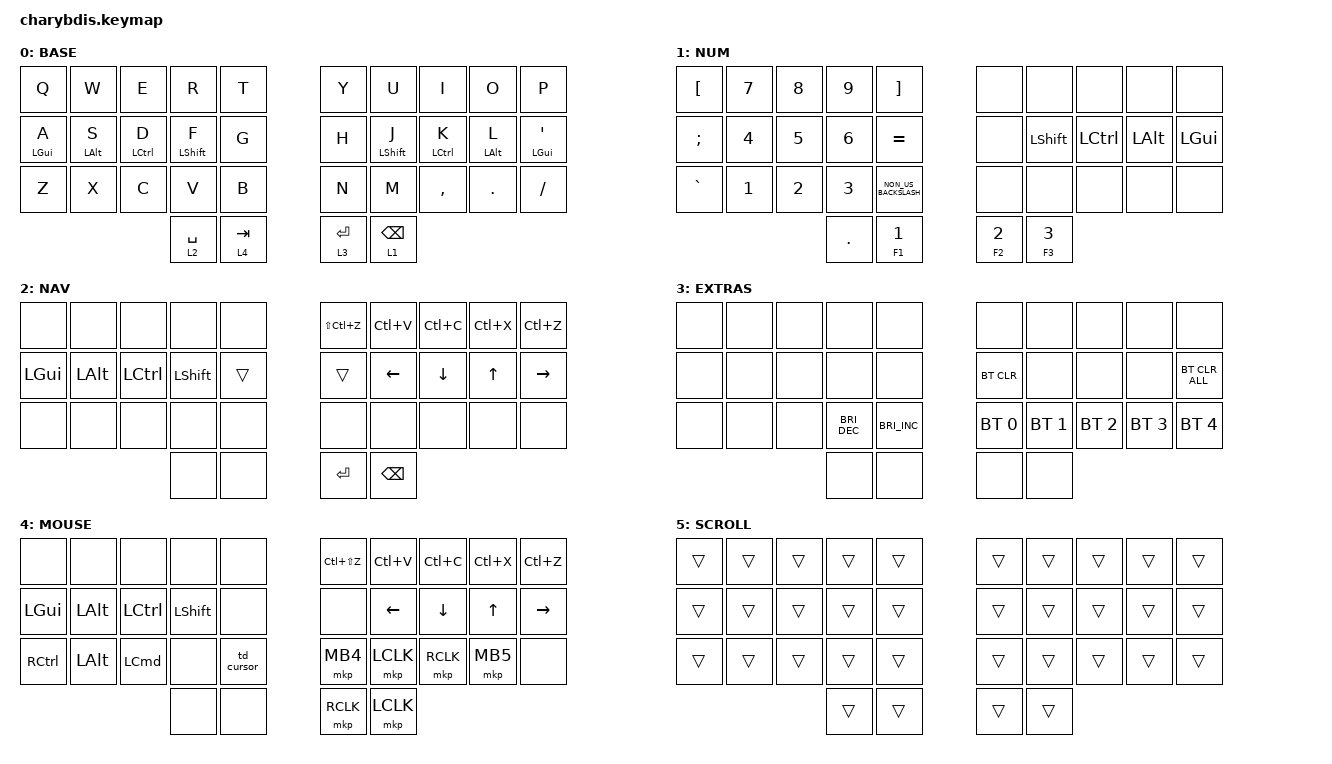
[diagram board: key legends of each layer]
#include <dt-bindings/zmk/mouse.h>
#include <behaviors/mouse_keys.dtsi>
#include "macros.dtsi"
#include <behaviors.dtsi>
#include <dt-bindings/zmk/bt.h>
#include <dt-bindings/zmk/keys.h>
#include <dt-bindings/zmk/pointing.h>

// / {
//     chosen { zmk,matrix_transform = &default_transform; };
// };

/ {
    /* input config for mouse move mode */

    trackball_listener {
        compatible = "zmk,input-behavior-listener";
        device = <&vtrackball>;
        layers = <5>;
        evt-type = <INPUT_EV_REL>;
        x-input-code = <INPUT_REL_X>;
        y-input-code = <INPUT_REL_Y>;
        scale-multiplier = <1>;
        scale-divisor = <2>;

        // bindings = <&ib_toggle_layer 7>;
    };

    /* input config for snipe mode */

    trackball_snipe_listener {
        compatible = "zmk,input-behavior-listener";
        device = <&vtrackball>;
        layers = <5>;
        evt-type = <INPUT_EV_REL>;
        x-input-code = <INPUT_REL_X>;
        y-input-code = <INPUT_REL_Y>;
        scale-multiplier = <1>;
        scale-divisor = <4>;
    };

    /* input config for mouse scroll mode */

    trackball_scroll_listener {
        compatible = "zmk,input-behavior-listener";
        device = <&vtrackball>;
        layers = <5>;
        evt-type = <INPUT_EV_REL>;
        x-input-code = <INPUT_REL_MISC>;
        y-input-code = <INPUT_REL_WHEEL>;
        y-invert;
        bindings = <&ib_wheel_scaler 1 14>;
    };

    /* define a resolution down scaler only for INPUT_REL_WHEEL */

    ib_wheel_scaler: ib_wheel_scaler {
        compatible = "zmk,input-behavior-scaler";
        #binding-cells = <2>;
        evt-type = <INPUT_EV_REL>;
        input-code = <INPUT_REL_WHEEL>;
    };

    /* adjust cooldown waiting period for mouse key layer after activated */

    ib_toggle_layer: ib_toggle_layer {
        compatible = "zmk,input-behavior-tog-layer";
        #binding-cells = <1>;
        time-to-live-ms = <750>;
    };

    behaviors {
        hm: homerow_mod {
            compatible = "zmk,behavior-hold-tap";
            #binding-cells = <2>;
            flavor = "tap-preferred";
            tapping-term-ms = <175>; // triggers the hold behavior when the tapping-term-ms has expired
            quick-tap-ms = <150>; // If you press a tapped hold-tap again within quick-tap-ms milliseconds of the first press, it will always trigger the tap behavior.
            require-prior-idle-ms = <185>; // like quick-tap-ms however it will apply for any non-modifier key pressed before it
            bindings = <&kp>, <&kp>;

            // hold, tap
        };

        td_cursor: td_scroll_or_cursor {
            compatible = "zmk,behavior-tap-dance";
            #binding-cells = <0>;
            bindings = <&lt 5 ESC>, <&to 0>;

            // hold, tap, double_tap
        };

        httl: ht_two_layers {
            compatible = "zmk,behavior-hold-tap";
            bindings = <&mo>, <&to>;

            #binding-cells = <2>;
            flavor = "balanced";
            tapping-term-ms = <125>;
        };

        td_layers: td_layer_swap {
            compatible = "zmk,behavior-tap-dance";
            #binding-cells = <0>;
            bindings = <&to 0>, <&to 0>, <&to 0>;

            // tap, double_tap, tripple_tap
        };

        td_clk_scrl: td_click_or_scroll {
            compatible = "zmk,behavior-tap-dance";
            #binding-cells = <0>;
            tapping-term-ms = <250>;
            bindings = <&mkp RCLK>, <&mo 5>;

            // tap/hold, double_tap
        };

        td_bore: BASE_or_EXTRA {
            compatible = "zmk,behavior-tap-dance";
            #binding-cells = <0>;
            bindings = <&mo 3>, <&to 0>;
        };
    };

    combos {
        compatible = "zmk,combos";

        CapsWord {
            bindings = <&caps_word>;
            key-positions = <15 14>;
            layers = <0>;
        };

        esc {
            bindings = <&kp ESCAPE>;
            key-positions = <31 30>;
        };

        esc1 {
            bindings = <&kp ESCAPE>;
            key-positions = <33 32>;
        };

        // GameLayer {
        //     bindings = <&tog 4>;
        //     key-positions = <8 9>;
        // };
        // PhotoLayer {
        //     bindings = <&tog 5>;
        //     key-positions = <2 3>;
        // };
    };

    // ╭──────┬──────┬──────┬──────┬──────┬──────╮  ╭──────┬──────┬──────┬──────┬──────┬──────╮
    //    00     01     02     03    04      05        06     07     08     09     10     11
    // ├──────┼──────┼──────┼──────┼──────┼──────┤  ├──────┼──────┼──────┼──────┼──────┼──────┤
    //    12     13     14     15    16      17        18     19     20     21     22     23
    // ├──────┼──────┼──────┼──────┼──────┼──────┤  ├──────┼──────┼──────┼──────┼──────┼──────┤
    //    24     25     26     27    28      29        30     31     32     33     34     35
    // ╰──────┴──────┴──────┼──────┼──────┼──────┤  ├──────┼──────┼──────┴──────┴──────┴──────╯
    //                         36     37     38        39     40
    //                      ╰──────┴──────┴──────╯  ╰──────┴──────╯
    // #define BASE    0
    // #define NUM     1
    // #define NAV     2
    // #define SYM     3
    // #define GAME    4
    // #define PHOTOS  5
    // #define EXTRAS  6
    // #define MOUSE   7
    // #define SLOW    8
    // #define SCROLL  9

    keymap {
        compatible = "zmk,keymap";

        BASE {
            bindings = <
  &kp Q           &kp W           &kp E               &kp R             &kp T        &kp Y        &kp U             &kp I               &kp O           &kp P
  &hm LEFT_GUI A  &hm LEFT_ALT S  &hm LEFT_CONTROL D  &hm LEFT_SHIFT F  &kp G        &kp H        &hm LEFT_SHIFT J  &hm LEFT_CONTROL K  &hm LEFT_ALT L  &hm LEFT_GUI SQT
  &kp Z           &kp X           &kp C               &kp V             &kp B        &kp N        &kp M             &kp COMMA           &kp PERIOD      &kp SLASH
                                                      &lt 2 SPACE       &lt 4 TAB    &lt 3 ENTER  &lt 1 BACKSPACE
            >;
        };

        NUM {
            bindings = <
  &kp LEFT_BRACKET  &kp N7        &kp N8        &kp N9        &kp RIGHT_BRACKET       &none      &none           &none             &none         &none
  &kp SEMICOLON     &kp NUMBER_4  &kp N5        &kp NUMBER_6  &kp EQUAL               &none      &kp LEFT_SHIFT  &kp LEFT_CONTROL  &kp LEFT_ALT  &kp LEFT_GUI
  &kp GRAVE         &kp NUMBER_1  &kp NUMBER_2  &kp NUMBER_3  &kp NON_US_BACKSLASH    &none      &none           &none             &none         &none
                                                &kp DOT       &hm F1 N1               &hm F2 N2  &hm F3 N3
            >;
        };

        NAV {
            bindings = <
  &none         &none         &none             &none           &none     &kp LS(LC(Z))  &kp LC(V)       &kp LC(C)       &kp LC(X)     &kp LC(Z)
  &kp LEFT_GUI  &kp LEFT_ALT  &kp LEFT_CONTROL  &kp LEFT_SHIFT  &trans    &trans         &kp LEFT_ARROW  &kp DOWN_ARROW  &kp UP_ARROW  &kp RIGHT_ARROW
  &none         &none         &none             &none           &none     &none          &none           &none           &none         &none
                                                &none           &none     &kp ENTER      &kp BACKSPACE
            >;
        };

        EXTRAS {
            bindings = <
  &none  &none  &none  &none                 &none                   &none         &none         &none         &none         &none
  &none  &none  &none  &none                 &none                   &bt BT_CLR    &none         &none         &none         &bt BT_CLR_ALL
  &none  &none  &none  &kp C_BRIGHTNESS_DEC  &kp C_BRIGHTNESS_INC    &bt BT_SEL 0  &bt BT_SEL 1  &bt BT_SEL 2  &bt BT_SEL 3  &bt BT_SEL 4
                       &none                 &none                   &none         &none
            >;
        };

        MOUSE {
            bindings = <
  &none         &none         &none             &none           &none         &kp LC(LS(Z))  &kp LC(V)  &kp LC(C)  &kp LC(X)     &kp LC(Z)
  &kp LEFT_GUI  &kp LEFT_ALT  &kp LEFT_CONTROL  &kp LEFT_SHIFT  &none         &none          &kp LEFT   &kp DOWN   &kp UP_ARROW  &kp RIGHT
  &kp RCTRL     &kp LEFT_ALT  &kp LCMD          &none           &td_cursor    &mkp MB4       &mkp LCLK  &mkp RCLK  &mkp MB5      &none
                                                &none           &none         &mkp RCLK      &mkp LCLK
            >;
        };

        SCROLL {
            bindings = <
  &trans  &trans  &trans  &trans  &trans    &trans  &trans  &trans  &trans  &trans
  &trans  &trans  &trans  &trans  &trans    &trans  &trans  &trans  &trans  &trans
  &trans  &trans  &trans  &trans  &trans    &trans  &trans  &trans  &trans  &trans
                          &trans  &trans    &trans  &trans
            >;
        };
    };
};
